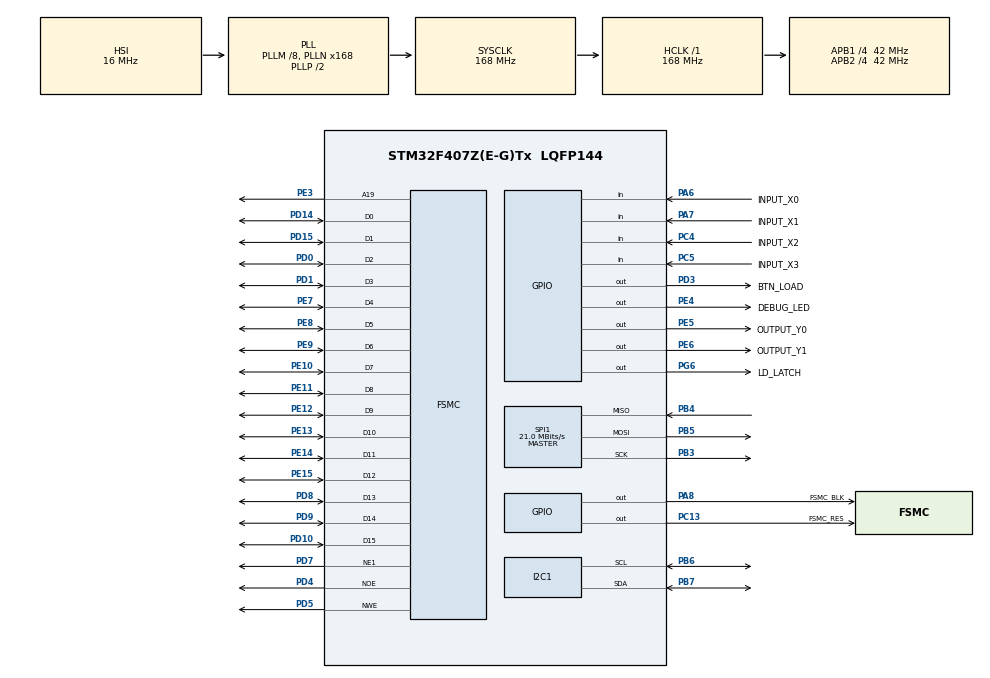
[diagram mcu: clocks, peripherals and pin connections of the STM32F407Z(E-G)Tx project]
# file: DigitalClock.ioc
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FSMC.AddressSetupTime1=0xf
FSMC.BusTurnAroundDuration1=0
FSMC.DataSetupTime1=60
FSMC.ExtendedAddressSetupTime1=8
FSMC.ExtendedBusTurnAroundDuration1=0
FSMC.ExtendedDataSetupTime1=9
FSMC.ExtendedMode1=FSMC_EXTENDED_MODE_ENABLE
I2C1.I2C_Mode=I2C_Standard
Mcu.Family=STM32F4
Mcu.Name=STM32F407Z(E-G)Tx
Mcu.Package=LQFP144
NVIC.PriorityGroup=NVIC_PRIORITYGROUP_4
NVIC.TIM2_IRQn=true\:0\:0\:false\:false\:true\:true\:true\:true
NVIC.TIM4_IRQn=true\:0\:0\:false\:false\:true\:true\:true\:true
PA13.Mode=Serial_Wire
PA13.Signal=SYS_JTMS-SWDIO
PA14.Mode=Serial_Wire
PA14.Signal=SYS_JTCK-SWCLK
PA6.GPIO_Label=INPUT_X0
PA6.Signal=GPIO_Input
PA7.GPIO_Label=INPUT_X1
PA7.Signal=GPIO_Input
PA8.GPIO_Label=FSMC_BLK
PA8.Signal=GPIO_Output
PB3.Mode=Full_Duplex_Master
PB3.Signal=SPI1_SCK
PB4.Mode=Full_Duplex_Master
PB4.Signal=SPI1_MISO
PB5.Mode=Full_Duplex_Master
PB5.Signal=SPI1_MOSI
PB6.Mode=I2C
PB6.Signal=I2C1_SCL
PB7.Mode=I2C
PB7.Signal=I2C1_SDA
PC13-ANTI_TAMP.GPIO_Label=FSMC_RES
PC13-ANTI_TAMP.Signal=GPIO_Output
PC4.GPIO_Label=INPUT_X2
PC4.Signal=GPIO_Input
PC5.GPIO_Label=INPUT_X3
PC5.Signal=GPIO_Input
PD0.Signal=FSMC_D2_DA2
PD1.Signal=FSMC_D3_DA3
PD10.Signal=FSMC_D15_DA15
PD14.Signal=FSMC_D0_DA0
PD15.Signal=FSMC_D1_DA1
PD3.GPIO_Label=BTN_LOAD
PD3.Signal=GPIO_Output
PD4.Signal=FSMC_NOE
PD5.Signal=FSMC_NWE
PD7.Mode=NorPsramChipSelect1_1
PD7.Signal=FSMC_NE1
PD8.Signal=FSMC_D13_DA13
PD9.Signal=FSMC_D14_DA14
PE10.Signal=FSMC_D7_DA7
PE11.Signal=FSMC_D8_DA8
PE12.Signal=FSMC_D9_DA9
PE13.Signal=FSMC_D10_DA10
PE14.Signal=FSMC_D11_DA11
PE15.Signal=FSMC_D12_DA12
PE3.Signal=FSMC_A19
PE4.GPIO_Label=DEBUG_LED
PE4.Signal=GPIO_Output
PE5.GPIO_Label=OUTPUT_Y0
PE5.Signal=GPIO_Output
PE6.GPIO_Label=OUTPUT_Y1
PE6.Signal=GPIO_Output
PE7.Signal=FSMC_D4_DA4
PE8.Signal=FSMC_D5_DA5
PE9.Signal=FSMC_D6_DA6
PG6.GPIO_Label=LD_LATCH
PG6.Signal=GPIO_Output
PH0-OSC_IN.Mode=HSE-External-Oscillator
PH0-OSC_IN.Signal=RCC_OSC_IN
PH1-OSC_OUT.Mode=HSE-External-Oscillator
PH1-OSC_OUT.Signal=RCC_OSC_OUT
ProjectManager.HeapSize=0x200
ProjectManager.StackSize=0x400
ProjectManager.TargetToolchain=STM32CubeIDE
RCC.48MHZClocksFreq_Value=84000000
RCC.AHBFreq_Value=168000000
RCC.APB1CLKDivider=RCC_HCLK_DIV4
RCC.APB1Freq_Value=42000000
RCC.APB1TimFreq_Value=84000000
RCC.APB2CLKDivider=RCC_HCLK_DIV4
RCC.APB2Freq_Value=42000000
RCC.APB2TimFreq_Value=84000000
RCC.CortexFreq_Value=168000000
RCC.HCLKFreq_Value=168000000
RCC.HSE_VALUE=8000000
RCC.HSI_VALUE=16000000
RCC.LSE_VALUE=32768
RCC.PLLM=8
RCC.PLLN=168
RCC.SYSCLKFreq_VALUE=168000000
RCC.SYSCLKSource=RCC_SYSCLKSOURCE_PLLCLK
RCC.VCOOutputFreq_Value=336000000
SH.FSMC_A19.0=FSMC_A19,A19_1
SH.FSMC_D0_DA0.0=FSMC_D0,16b-d1
SH.FSMC_D10_DA10.0=FSMC_D10,16b-d1
SH.FSMC_D11_DA11.0=FSMC_D11,16b-d1
SH.FSMC_D12_DA12.0=FSMC_D12,16b-d1
SH.FSMC_D13_DA13.0=FSMC_D13,16b-d1
SH.FSMC_D14_DA14.0=FSMC_D14,16b-d1
SH.FSMC_D15_DA15.0=FSMC_D15,16b-d1
SH.FSMC_D1_DA1.0=FSMC_D1,16b-d1
SH.FSMC_D2_DA2.0=FSMC_D2,16b-d1
SH.FSMC_D3_DA3.0=FSMC_D3,16b-d1
SH.FSMC_D4_DA4.0=FSMC_D4,16b-d1
SH.FSMC_D5_DA5.0=FSMC_D5,16b-d1
SH.FSMC_D6_DA6.0=FSMC_D6,16b-d1
SH.FSMC_D7_DA7.0=FSMC_D7,16b-d1
SH.FSMC_D8_DA8.0=FSMC_D8,16b-d1
SH.FSMC_D9_DA9.0=FSMC_D9,16b-d1
SH.FSMC_NOE.0=FSMC_NOE,Lcd1
SH.FSMC_NWE.0=FSMC_NWE,Lcd1
SPI1.BaudRatePrescaler=SPI_BAUDRATEPRESCALER_2
SPI1.CalculateBaudRate=21.0 MBits/s
SPI1.Direction=SPI_DIRECTION_2LINES
SPI1.Mode=SPI_MODE_MASTER
SPI1.VirtualType=VM_MASTER
TIM2.Period=100-1
TIM2.Prescaler=840-1
TIM4.Period=100-1
TIM4.Prescaler=840-1
VP_TIM2_VS_ClockSourceINT.Mode=Internal
VP_TIM4_VS_ClockSourceINT.Mode=Internal
board=custom

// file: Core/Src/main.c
/* USER CODE BEGIN Header */
/**
  ******************************************************************************
  * @file           : main.c
  * @brief          : Main program body
  ******************************************************************************
  * @attention
  *
  * Copyright (c) 2025 STMicroelectronics.
  * All rights reserved.
  *
  * This software is licensed under terms that can be found in the LICENSE file
  * in the root directory of this software component.
  * If no LICENSE file comes with this software, it is provided AS-IS.
  *
  ******************************************************************************
  */
/* USER CODE END Header */
#include "main.h"
#include "i2c.h"
#include "spi.h"
#include "tim.h"
#include "gpio.h"
#include "fsmc.h"

/* USER CODE BEGIN Includes */
#include "software_timer.h"
#include "led_7seg.h"
#include "button.h"
#include "lcd.h"
#include "picture.h"
#include "ds3231.h"
/* USER CODE END Includes */

/* USER CODE BEGIN PV */
uint8_t count_led_debug = 0;
uint8_t count_modify = 0;
uint8_t count_timer = 0;
uint8_t temp = 0;
uint8_t temp_timer = 0;
uint8_t flag = 0;
enum Mode {
	modeInit,
	modeNormal,
	modeModify,
	modeTimer,
};
enum Mode currentMode = modeInit;
uint8_t temp_time[7];
uint8_t timer[7];
uint8_t timerPresent[7];
/* USER CODE END PV */

void SystemClock_Config(void);
/* USER CODE BEGIN PFP */
void system_init();
void test_LedDebug();
void displayTime();
void updateTime();
void fsm();
/* USER CODE END PFP */

int main(void)
{

  /* MCU Configuration--------------------------------------------------------*/

  /* Reset of all peripherals, Initializes the Flash interface and the Systick. */
  HAL_Init();

  /* Configure the system clock */
  SystemClock_Config();

  /* Initialize all configured peripherals */
  MX_GPIO_Init();
  MX_TIM2_Init();
  MX_SPI1_Init();
  MX_FSMC_Init();
  MX_I2C1_Init();
  MX_TIM4_Init();
  /* USER CODE BEGIN 2 */
  system_init();
  /* USER CODE END 2 */

  /* Infinite loop */
  /* USER CODE BEGIN WHILE */
  lcd_clear(BLACK);
  updateTime();
  while (1)
  {
	  while(!timer2_flag);
	  timer2_flag = 0;
	  button_scan();
	  ds3231_read_time();
	  fsm();
    /* USER CODE END WHILE */

  }
}

void SystemClock_Config(void)
{
  RCC_OscInitTypeDef RCC_OscInitStruct = {0};
  RCC_ClkInitTypeDef RCC_ClkInitStruct = {0};

  /** Configure the main internal regulator output voltage
  */
  __HAL_RCC_PWR_CLK_ENABLE();
  __HAL_PWR_VOLTAGESCALING_CONFIG(PWR_REGULATOR_VOLTAGE_SCALE1);

  /** Initializes the RCC Oscillators according to the specified parameters
  * in the RCC_OscInitTypeDef structure.
  */
  RCC_OscInitStruct.OscillatorType = RCC_OSCILLATORTYPE_HSI;
  RCC_OscInitStruct.HSIState = RCC_HSI_ON;
  RCC_OscInitStruct.HSICalibrationValue = RCC_HSICALIBRATION_DEFAULT;
  RCC_OscInitStruct.PLL.PLLState = RCC_PLL_ON;
  RCC_OscInitStruct.PLL.PLLSource = RCC_PLLSOURCE_HSI;
  RCC_OscInitStruct.PLL.PLLM = 8;
  RCC_OscInitStruct.PLL.PLLN = 168;
  RCC_OscInitStruct.PLL.PLLP = RCC_PLLP_DIV2;
  RCC_OscInitStruct.PLL.PLLQ = 4;
  if (HAL_RCC_OscConfig(&RCC_OscInitStruct) != HAL_OK)
  {
    Error_Handler();
  }

  /** Initializes the CPU, AHB and APB buses clocks
  */
  RCC_ClkInitStruct.ClockType = RCC_CLOCKTYPE_HCLK|RCC_CLOCKTYPE_SYSCLK
                              |RCC_CLOCKTYPE_PCLK1|RCC_CLOCKTYPE_PCLK2;
  RCC_ClkInitStruct.SYSCLKSource = RCC_SYSCLKSOURCE_PLLCLK;
  RCC_ClkInitStruct.AHBCLKDivider = RCC_SYSCLK_DIV1;
  RCC_ClkInitStruct.APB1CLKDivider = RCC_HCLK_DIV4;
  RCC_ClkInitStruct.APB2CLKDivider = RCC_HCLK_DIV4;

  if (HAL_RCC_ClockConfig(&RCC_ClkInitStruct, FLASH_LATENCY_5) != HAL_OK)
  {
    Error_Handler();
  }
}

/* USER CODE BEGIN 4 */
void system_init(){
	  HAL_GPIO_WritePin(OUTPUT_Y0_GPIO_Port, OUTPUT_Y0_Pin, 0);
	  HAL_GPIO_WritePin(OUTPUT_Y1_GPIO_Port, OUTPUT_Y1_Pin, 0);
	  HAL_GPIO_WritePin(DEBUG_LED_GPIO_Port, DEBUG_LED_Pin, 0);

	  timer2_init();
	  timer2_set(50);

	  button_init();
	  lcd_init();
	  ds3231_init();
}

void test_LedDebug(){
	count_led_debug = (count_led_debug + 1)%20;
	if(count_led_debug == 0){
		HAL_GPIO_TogglePin(DEBUG_LED_GPIO_Port, DEBUG_LED_Pin);
	}
}

void updateTime(){
	ds3231_write(ADDRESS_YEAR, 25);
	ds3231_write(ADDRESS_MONTH, 10);
	ds3231_write(ADDRESS_DATE, 21);
	ds3231_write(ADDRESS_DAY, 3);
	ds3231_write(ADDRESS_HOUR, 10);
	ds3231_write(ADDRESS_MIN, 18);
	ds3231_write(ADDRESS_SEC, 0);
}

uint8_t isButtonUp()
{
    if (button_count[3] == 1)
        return 1;
    else
        return 0;
}
uint8_t isButtonDown()
{
    if (button_count[7] == 1)
        return 1;
    else
        return 0;
}
char* returnMode() {
	switch (currentMode) {
		case modeInit:
			return "Initial";
			break;
		case modeNormal:
			return "Time Now";
			break;
		case modeModify:
			return "Modify Time";
			break;
		case modeTimer:
			return "Alarm";
			break;
	}
	return "Unknown!";
}
void checkTime() {
	switch (temp) {
		case 0:
			if (temp_time[temp] > 24) {
				temp_time[temp] = 0;
			}
			break;
		case 1:
			if (temp_time[temp] > 59) {
				temp_time[temp] = 0;
			}
			break;
		case 2:
			if (temp_time[temp] > 59) {
				temp_time[temp] = 0;
			}
			break;
		case 3:
			if (temp_time[temp] > 8) {
				temp_time[temp] = 2;
			}
			break;
		case 4:
			if (temp_time[temp] > 31) {
				temp_time[temp] = 0;
			}
			break;
		case 5:
			if (temp_time[temp] > 12) {
				temp_time[temp] = 0;
			}
			break;
		case 6:
			if (temp_time[temp] > 99) {
				temp_time[temp] = 0;
			}
			break;
	}
}
void checkTimer() {
	switch (temp_timer) {
		case 0:
			if (timer[temp_timer] > 24) {
				timer[temp_timer] = 0;
			}
			break;
		case 1:
			if (timer[temp_timer] > 59) {
				timer[temp_timer] = 0;
			}
			break;
		case 2:
			if (timer[temp_timer] > 59) {
				timer[temp_timer] = 0;
			}
			break;
		case 3:
			if (timer[temp_timer] > 8) {
				timer[temp_timer] = 2;
			}
			break;
		case 4:
			if (timer[temp_timer] > 31) {
				timer[temp_timer] = 0;
			}
			break;
		case 5:
			if (timer[temp_timer] > 12) {
				timer[temp_timer] = 0;
			}
			break;
		case 6:
			if (timer[temp_timer] > 99) {
				timer[temp_timer] = 0;
			}
			break;
	}
}
void displayTime(){
	lcd_show_string_center(0, 50, returnMode(), WHITE, BLACK, 24, 0);
	lcd_show_int_num(70, 100, ds3231_hours, 2, GREEN, BLACK, 24);
	lcd_show_int_num(110, 100, ds3231_min, 2, GREEN, BLACK, 24);
	lcd_show_int_num(150, 100, ds3231_sec, 2, GREEN, BLACK, 24);
	lcd_show_int_num(20, 130, ds3231_day, 2, YELLOW, BLACK, 24);
	lcd_show_int_num(70, 130, ds3231_date, 2, YELLOW, BLACK, 24);
	lcd_show_int_num(110, 130, ds3231_month, 2, YELLOW, BLACK, 24);
	lcd_show_int_num(150, 130, ds3231_year, 2, YELLOW, BLACK, 24);
}
void modifyTime() {
	count_modify = (count_modify + 1) % 10;
	if (count_modify > 5) {
		switch (temp){
			case 0:
				lcd_show_int_num(70, 100, "  ", 2, BLACK, BLACK, 24);
				break;
			case 1:
				lcd_show_int_num(110, 100, "  ", 2, BLACK, BLACK, 24);
				break;
			case 2:
				lcd_show_int_num(150, 100, "  ", 2, BLACK, BLACK, 24);
				break;
			case 3:
				lcd_show_int_num(20, 130, "  ", 2, BLACK, BLACK, 24);
				break;
			case 4:
				lcd_show_int_num(70, 130, "  ", 2, BLACK, BLACK, 24);
				break;
			case 5:
				lcd_show_int_num(110, 130, "  ", 2, BLACK, BLACK, 24);
				break;
			case 6:
				lcd_show_int_num(150, 130, "  ", 2, BLACK, BLACK, 24);
				break;
		}
	} else {
		lcd_show_string_center(0, 50, returnMode(), WHITE, BLACK, 24, 0);
		lcd_show_int_num(70, 100, temp_time[0], 2, GREEN, BLACK, 24);
		lcd_show_int_num(110, 100, temp_time[1], 2, GREEN, BLACK, 24);
		lcd_show_int_num(150, 100, temp_time[2], 2, GREEN, BLACK, 24);
		lcd_show_int_num(20, 130, temp_time[3], 2, YELLOW, BLACK, 24);
		lcd_show_int_num(70, 130, temp_time[4], 2, YELLOW, BLACK, 24);
		lcd_show_int_num(110, 130, temp_time[5], 2, YELLOW, BLACK, 24);
		lcd_show_int_num(150, 130, temp_time[6], 2, YELLOW, BLACK, 24);
	}

	if (isButtonUp()) {
		temp_time[temp]++;
		checkTime();
	}

	if (isButtonDown()) {
		temp_time[temp]--;
		checkTime();
	}

	if (button_count[3] > 40 && button_count[3] % 4 == 1) {
		temp_time[temp]++;
		checkTime();
	}

	if (button_count[7] > 40 && button_count[7] % 4 == 1) {
		temp_time[temp]--;
		checkTime();
	}

	if (button_count[12] == 1) {
		switch (temp){
			case 0:
				ds3231_write(ADDRESS_HOUR, temp_time[temp]);
				break;
			case 1:
				ds3231_write(ADDRESS_MIN, temp_time[temp]);
				break;
			case 2:
				ds3231_write(ADDRESS_SEC, temp_time[temp]);
				break;
			case 3:
				ds3231_write(ADDRESS_DAY, temp_time[temp]);
				break;
			case 4:
				ds3231_write(ADDRESS_DATE, temp_time[temp]);
				break;
			case 5:
				ds3231_write(ADDRESS_MONTH, temp_time[temp]);
				break;
			case 6:
				ds3231_write(ADDRESS_YEAR, temp_time[temp]);
				break;
		}
		temp++;
		if (temp > 6) {
			temp = 0;
		}
	}
}
void modifyTimer() {
	count_timer = (count_timer + 1) % 10;
	if (count_timer > 5) {
		switch (temp_timer){
			case 0:
				lcd_show_int_num(70, 100, "  ", 2, BLACK, BLACK, 24);
				break;
			case 1:
				lcd_show_int_num(110, 100, "  ", 2, BLACK, BLACK, 24);
				break;
			case 2:
				lcd_show_int_num(150, 100, "  ", 2, BLACK, BLACK, 24);
				break;
			case 3:
				lcd_show_int_num(20, 130, "  ", 2, BLACK, BLACK, 24);
				break;
			case 4:
				lcd_show_int_num(70, 130, "  ", 2, BLACK, BLACK, 24);
				break;
			case 5:
				lcd_show_int_num(110, 130, "  ", 2, BLACK, BLACK, 24);
				break;
			case 6:
				lcd_show_int_num(150, 130, "  ", 2, BLACK, BLACK, 24);
				break;
		}
	} else {
		lcd_show_string_center(0, 50, returnMode(), WHITE, BLACK, 24, 0);
		lcd_show_int_num(70, 100, timer[0], 2, GREEN, BLACK, 24);
		lcd_show_int_num(110, 100, timer[1], 2, GREEN, BLACK, 24);
		lcd_show_int_num(150, 100, timer[2], 2, GREEN, BLACK, 24);
		lcd_show_int_num(20, 130, timer[3], 2, YELLOW, BLACK, 24);
		lcd_show_int_num(70, 130, timer[4], 2, YELLOW, BLACK, 24);
		lcd_show_int_num(110, 130,timer[5], 2, YELLOW, BLACK, 24);
		lcd_show_int_num(150, 130, timer[6], 2, YELLOW, BLACK, 24);
	}

	if (isButtonUp()) {
		timer[temp_timer]++;
		checkTimer();
	}

	if (button_count[3] > 40 && button_count[3] % 4 == 1) {
		timer[temp_timer]++;
		checkTimer();
	}

	if (isButtonDown()) {
		timer[temp_timer]--;
		checkTimer();
	}

	if (button_count[7] > 40 && button_count[7] % 4 == 1) {
		timer[temp_timer]--;
		checkTimer();
	}

	if (button_count[12] == 1) {
		switch (temp_timer){
			case 0:
				timerPresent[temp_timer] = timer[temp_timer];
				break;
			case 1:
				timerPresent[temp_timer] = timer[temp_timer];
				break;
			case 2:
				timerPresent[temp_timer] = timer[temp_timer];
				break;
			case 3:
				timerPresent[temp_timer] = timer[temp_timer];
				break;
			case 4:
				timerPresent[temp_timer] = timer[temp_timer];
				break;
			case 5:
				timerPresent[temp_timer] = timer[temp_timer];
				break;
			case 6:
				timerPresent[temp_timer] = timer[temp_timer];
				break;
		}
		temp_timer++;
		if (temp_timer> 6) {
			temp_timer = 0;
		}
	}
}

/* ========================== */
void fsm() {
	switch (currentMode) {
		case modeInit:
			currentMode = modeNormal;
			break;
		case modeNormal:
			temp = 0;
			temp_timer = 0;
			for (int i = 0; i < 7; i++) {
				temp_time[i] = 0;
				timer[i] = 0;
			}
			displayTime();

			if (ds3231_hours == timerPresent[0] && ds3231_min == timerPresent[1]) {
				lcd_fill(0, 200, 240, 300, RED);
				lcd_show_string_center(0, 240, "Wake up!", YELLOW, RED, 16, 0);
			}
			else {
				lcd_fill(0, 200, 240, 300, BLACK);
				lcd_show_string_center(0, 240, "Wake up!", BLACK, BLACK, 16, 0);
			}

			if (button_count[0] == 1) {
				lcd_fill(0, 50, 240, 75, BLACK);
				currentMode = modeModify;
			}
			break;
		case modeModify:
			for (int i = 0; i < 7; i++) {
				if (temp_time[i] == 0 && flag == 0) {
					switch (i) {
						case 0:
							temp_time[i] = ds3231_hours;
							break;
						case 1:
							temp_time[i] = ds3231_min;
							break;
						case 2:
							temp_time[i] = ds3231_sec;
							break;
						case 3:
							temp_time[i] = ds3231_day;
							break;
						case 4:
							temp_time[i] = ds3231_date;
							break;
						case 5:
							temp_time[i] = ds3231_month;
							break;
						case 6:
							temp_time[i] = ds3231_year;
							break;
					}
				}
			}
			flag = 1;
			modifyTime();
			if (button_count[0] == 1) {
				flag = 0;
				lcd_fill(0, 50, 240, 75, BLACK);
				currentMode = modeTimer;
			}
			break;
		case modeTimer:
			for (int i = 0; i < 7; i++) {
				if (timer[i] == 0 && flag == 0) {
					switch (i) {
						case 0:
							timer[i] = timerPresent[i];
							break;
						case 1:
							timer[i] = timerPresent[i];
							break;
						case 2:
							timer[i] = timerPresent[i];
							break;
						case 3:
							timer[i] = timerPresent[i];
							break;
						case 4:
							timer[i] = timerPresent[i];
							break;
						case 5:
							timer[i] = timerPresent[i];
							break;
						case 6:
							timer[i] = timerPresent[i];
							break;
					}
				}
			}
			flag = 1;
			modifyTimer();
			if (button_count[0] == 1) {
				flag = 0;
				lcd_fill(0, 50, 240, 75, BLACK);
				currentMode = modeNormal;
			}
			break;
	}
}
/* USER CODE END 4 */

void Error_Handler(void)
{
  __disable_irq();
  while (1)
  {
  }
}
